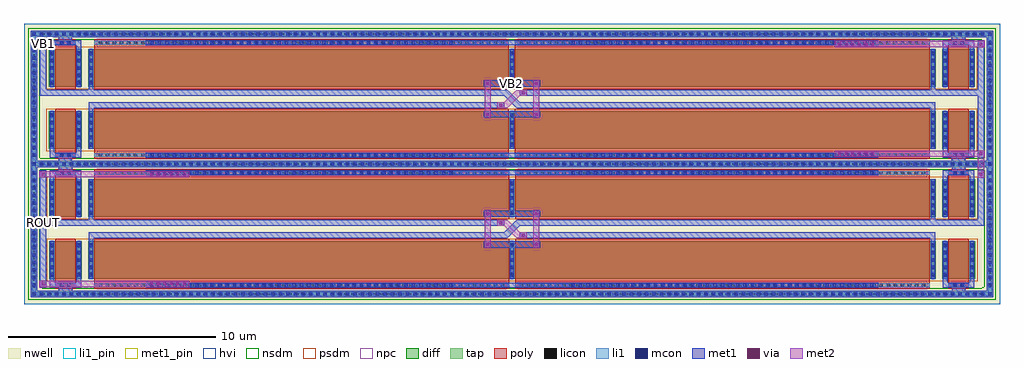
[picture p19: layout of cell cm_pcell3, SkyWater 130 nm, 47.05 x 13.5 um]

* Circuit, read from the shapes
.subckt cm_pcell3 ROUT VB1 VB2 VDDA
XM1 VDDA VDDA VDDA VDDA sky130_fd_pr__pfet_g5v0d10v5 w=1.8 l=1 m=8
XM2 VB2 n1 n1 VDDA sky130_fd_pr__pfet_g5v0d10v5 w=1.8 l=20 m=2
XM3 VB2 n1 VB1 VDDA sky130_fd_pr__pfet_g5v0d10v5 w=1.8 l=20 m=2
XM4 n2 ROUT n1 VDDA sky130_fd_pr__pfet_g5v0d10v5 w=1.8 l=20 m=2
XM5 n2 ROUT ROUT VDDA sky130_fd_pr__pfet_g5v0d10v5 w=1.8 l=20 m=2
.ends

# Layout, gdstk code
from math import pi, radians
import gdstk
lib = gdstk.Library(unit=1e-6, precision=1e-09)
def R(c, l, rs):  # rectangles x0, y0, x1, y1
    for r in rs: c.add(gdstk.rectangle(r[:2], r[2:], *l))
def A(c, l, x, y, w, h, nx, ny, dx, dy):  # array of equal rectangles
    R(c, l, [(x+i*dx, y+j*dy, x+i*dx+w, y+j*dy+h) for i in range(nx) for j in range(ny)])
def P(c, l, *ps):  # polygons
    for p in ps: c.add(gdstk.Polygon(p, *l))
nwell = (64, 20)
diff = (65, 20)
tap = (65, 44)
poly = (66, 20)
licon = (66, 44)
li1_pin = (67, 16)
li1 = (67, 20)
mcon = (67, 44)
met1_pin = (68, 16)
met1 = (68, 20)
via = (68, 44)
met2 = (69, 20)
hvi = (75, 20)
nsdm = (93, 44)
psdm = (94, 20)
npc = (95, 20)

cross_pair = lib.new_cell('cross_pair')
R(cross_pair, met1, [(180.57,9.275,180.93,9.575), (181.53,9.275,182.015,9.45), (181.355,9.45,182.015,9.575), (181.23,9.575,181.355,9.875), (180.57,9.875,181.055,10.175), (181.655,9.875,182.015,10.175)])
P(cross_pair, met1, [(181.055,10.175),(181.055,9.875),(181.355,9.875)],
  [(180.93,9.875),(181.23,9.875),(181.23,9.575)],
  [(181.355,9.875),(181.355,9.575),(181.655,9.575)],
  [(181.23,9.575),(181.355,9.575),(181.355,9.45)],
  [(181.355,9.45),(181.53,9.45),(181.53,9.275)])
R(cross_pair, via, [(180.675,9.35,180.825,9.5), (181.76,9.95,181.91,10.1)])
R(cross_pair, met2, [(180.57,9.275,181.055,9.575), (181.23,9.575,181.355,9.875), (181.355,9.875,182.015,10), (181.53,10,182.015,10.175)])
P(cross_pair, met2, [(181.355,10),(181.53,10),(181.53,10.175)],
  [(181.23,9.875),(181.355,9.875),(181.355,10)],
  [(180.93,9.575),(181.23,9.575),(181.23,9.875)],
  [(181.355,9.575),(181.355,9.875),(181.655,9.875)],
  [(181.055,9.275),(181.055,9.575),(181.355,9.575)])

sky130_fd_pr__pfet_g5v0d = lib.new_cell('sky130_fd_pr__pfet_g5v0d10v5_Y56K3G')
R(sky130_fd_pr__pfet_g5v0d, nwell, [(-0.97,-1.39,0.97,1.22)])
R(sky130_fd_pr__pfet_g5v0d, diff, [(-0.79,-1.08,0.79,0.72)])
R(sky130_fd_pr__pfet_g5v0d, poly, [(-0.5,-1.21,0.5,1.205)])
A(sky130_fd_pr__pfet_g5v0d, licon, -0.73, -0.945, 0.17, 0.17, 1, 5, 0, 0.34)
A(sky130_fd_pr__pfet_g5v0d, licon, 0.56, -0.945, 0.17, 0.17, 1, 5, 0, 0.34)
R(sky130_fd_pr__pfet_g5v0d, licon, [(-0.255,0.955,-0.085,1.125), (0.085,0.955,0.255,1.125)])
R(sky130_fd_pr__pfet_g5v0d, li1, [(-0.73,-1.1,-0.56,0.74), (0.56,-1.1,0.73,0.74), (-0.5,0.955,0.5,1.125)])
A(sky130_fd_pr__pfet_g5v0d, mcon, -0.73, -0.985, 0.17, 0.17, 1, 5, 0, 0.36)
A(sky130_fd_pr__pfet_g5v0d, mcon, 0.56, -0.985, 0.17, 0.17, 1, 5, 0, 0.36)
R(sky130_fd_pr__pfet_g5v0d, mcon, [(-0.265,0.955,-0.095,1.125), (0.095,0.955,0.265,1.125)])
R(sky130_fd_pr__pfet_g5v0d, met1, [(-0.76,-1.08,-0.53,0.72), (0.53,-1.08,0.76,0.72), (-0.375,0.925,0.375,1.155)])
R(sky130_fd_pr__pfet_g5v0d, hvi, [(-0.97,-1.39,0.97,-1.265), (-0.975,-1.265,0.975,0.905), (-0.97,0.905,0.97,1.22)])
R(sky130_fd_pr__pfet_g5v0d, psdm, [(-0.915,-1.205,0.915,0.845)])
R(sky130_fd_pr__pfet_g5v0d, npc, [(-0.355,0.855,0.355,1.225)])

c_sky130_fd_pr__pfet_g5v0d = lib.new_cell('sky130_fd_pr__pfet_g5v0d10v5_RPZ9PD')
R(c_sky130_fd_pr__pfet_g5v0d, nwell, [(-10.47,-1.39,10.47,1.22)])
R(c_sky130_fd_pr__pfet_g5v0d, diff, [(-10.29,-1.08,10.29,0.72)])
R(c_sky130_fd_pr__pfet_g5v0d, poly, [(-10,-1.21,10,1.205)])
A(c_sky130_fd_pr__pfet_g5v0d, licon, -10.23, -0.945, 0.17, 0.17, 1, 5, 0, 0.34)
A(c_sky130_fd_pr__pfet_g5v0d, licon, 10.06, -0.945, 0.17, 0.17, 1, 5, 0, 0.34)
A(c_sky130_fd_pr__pfet_g5v0d, licon, -9.775, 0.955, 0.17, 0.17, 58, 1, 0.34, 0)
R(c_sky130_fd_pr__pfet_g5v0d, li1, [(-10.23,-1.1,-10.06,0.74), (10.06,-1.1,10.23,0.74), (-10,0.955,10,1.125)])
A(c_sky130_fd_pr__pfet_g5v0d, mcon, -10.23, -0.985, 0.17, 0.17, 1, 5, 0, 0.36)
A(c_sky130_fd_pr__pfet_g5v0d, mcon, 10.06, -0.985, 0.17, 0.17, 1, 5, 0, 0.36)
A(c_sky130_fd_pr__pfet_g5v0d, mcon, -7.285, 0.955, 0.17, 0.17, 41, 1, 0.36, 0)
R(c_sky130_fd_pr__pfet_g5v0d, met1, [(-10.26,-1.08,-10.03,0.72), (10.03,-1.08,10.26,0.72), (-7.5,0.925,7.5,1.155)])
R(c_sky130_fd_pr__pfet_g5v0d, hvi, [(-10.47,-1.39,10.47,-1.265), (-10.475,-1.265,10.475,0.905), (-10.47,0.905,10.47,1.22)])
R(c_sky130_fd_pr__pfet_g5v0d, psdm, [(-10.415,-1.205,10.415,0.845)])
R(c_sky130_fd_pr__pfet_g5v0d, npc, [(-9.875,0.855,9.875,1.225)])

c_sky130_fd_pr__pfet_g5v0d_ = lib.new_cell('sky130_fd_pr__pfet_g5v0d10v5_NWEK38')
R(c_sky130_fd_pr__pfet_g5v0d_, nwell, [(-0.97,-1.39,0.97,1.22)])
R(c_sky130_fd_pr__pfet_g5v0d_, diff, [(-0.79,-1.08,0.79,0.72)])
R(c_sky130_fd_pr__pfet_g5v0d_, poly, [(-0.5,-1.21,0.5,1.205)])
A(c_sky130_fd_pr__pfet_g5v0d_, licon, -0.73, -0.945, 0.17, 0.17, 1, 5, 0, 0.34)
A(c_sky130_fd_pr__pfet_g5v0d_, licon, 0.56, -0.945, 0.17, 0.17, 1, 5, 0, 0.34)
R(c_sky130_fd_pr__pfet_g5v0d_, licon, [(-0.255,0.955,-0.085,1.125), (0.085,0.955,0.255,1.125)])
R(c_sky130_fd_pr__pfet_g5v0d_, li1, [(-0.73,-1.1,-0.56,0.74), (0.56,-1.1,0.73,0.74), (-0.5,0.955,0.5,1.125)])
A(c_sky130_fd_pr__pfet_g5v0d_, mcon, -0.73, -0.985, 0.17, 0.17, 1, 5, 0, 0.36)
A(c_sky130_fd_pr__pfet_g5v0d_, mcon, 0.56, -0.985, 0.17, 0.17, 1, 5, 0, 0.36)
R(c_sky130_fd_pr__pfet_g5v0d_, mcon, [(-0.265,0.955,-0.095,1.125), (0.095,0.955,0.265,1.125)])
R(c_sky130_fd_pr__pfet_g5v0d_, met1, [(-0.76,-1.08,-0.53,0.72), (0.53,-1.08,0.76,0.72), (-0.375,0.925,0.375,1.155)])
R(c_sky130_fd_pr__pfet_g5v0d_, hvi, [(-0.97,-1.39,0.97,-1.265), (-0.975,-1.265,0.975,0.905), (-0.97,0.905,0.97,1.22)])
R(c_sky130_fd_pr__pfet_g5v0d_, psdm, [(-0.915,-1.205,0.915,0.845)])
R(c_sky130_fd_pr__pfet_g5v0d_, npc, [(-0.355,0.855,0.355,1.225)])

cm_pcell3_2 = lib.new_cell('cm_pcell3_2')
R(cm_pcell3_2, tap, [(-2.51,-0.3,-2.21,2.685), (43.575,-0.3,43.875,2.685), (-2.51,2.685,43.875,2.985)])
R(cm_pcell3_2, li1, [(-2.445,-0.3,-2.275,2.75), (43.64,-0.3,43.81,2.75), (-2.445,2.75,43.81,2.92)])
R(cm_pcell3_2, met1, [(-2.51,-0.3,-2.21,2.685), (43.575,-0.3,43.875,2.685), (20.39,0.29,20.97,0.59), (-1.605,2.09,-1.375,2.295), (-0.315,2.09,-0.085,2.295), (41.445,2.09,41.675,2.295), (42.735,2.09,42.965,2.295), (36.235,2.195,38.295,2.495), (-1.605,2.295,-1.22,2.525), (-0.47,2.295,-0.085,2.525), (18.035,2.295,23.325,2.525), (41.445,2.295,41.845,2.525), (42.58,2.295,42.965,2.525), (-1.16,2.525,-0.53,2.685), (41.89,2.525,42.52,2.685), (-2.51,2.685,43.875,2.985)])
A(cm_pcell3_2, via, 36.39, 2.27, 0.15, 0.15, 6, 1, 0.32, 0)
R(cm_pcell3_2, met2, [(36.235,2.195,43.42,2.495)])
R(cm_pcell3_2, hvi, [(-2.78,-0.675,-1.94,-0.02), (43.305,-0.675,44.145,-0.02), (-2.78,-0.02,-1.815,0.105), (43.175,-0.02,44.145,0.105), (-2.78,0.105,-1.82,2.275), (43.18,0.105,44.145,2.275), (-2.78,2.275,-1.815,2.5), (43.175,2.275,44.145,2.5), (-2.695,2.5,44.06,3.17)])
R(cm_pcell3_2, nsdm, [(-2.635,-0.425,-2.085,2.56), (43.45,-0.425,44,2.56), (-2.635,2.56,44,3.11)])
R(cm_pcell3_2, psdm, [(0.07,0.165,0.12,2.215), (41.24,0.165,41.29,2.215)])
cm_pcell3_2.add(gdstk.Reference(sky130_fd_pr__pfet_g5v0d, (42.205,1.37)))
cm_pcell3_2.add(gdstk.Reference(c_sky130_fd_pr__pfet_g5v0d, (10.535,1.37)))
cm_pcell3_2.add(gdstk.Reference(c_sky130_fd_pr__pfet_g5v0d, (30.825,1.37)))
cm_pcell3_2.add(gdstk.Reference(c_sky130_fd_pr__pfet_g5v0d_, (-0.845,1.37)))

cm_pcell3_cell = lib.new_cell('cm_pcell3_cell')
R(cm_pcell3_cell, met1, [(22.72,18.71,23.02,21.685), (-1.085,20.645,1.62,20.945), (-20.14,20.945,-19.91,21.085), (20.44,20.945,20.67,21.085), (-20.14,21.085,-0.455,21.385), (0.99,21.085,20.67,21.385), (-22.485,21.685,-0.455,21.985), (0.99,21.685,23.02,21.985), (-22.485,21.985,-22.185,24.36), (-20.14,21.985,-19.91,22.125), (20.44,21.985,20.67,22.125), (22.72,21.985,23.02,24.36), (-1.085,22.125,-0.02,22.425), (0.555,22.125,1.62,22.425)])
R(cm_pcell3_cell, via, [(22.795,18.815,22.945,18.965), (-0.98,20.72,-0.83,20.87), (1.365,20.72,1.515,20.87), (-0.98,22.2,-0.83,22.35), (1.365,22.2,1.515,22.35), (22.795,24.105,22.945,24.255)])
R(cm_pcell3_cell, met2, [(22.72,18.74,23.05,19.04), (-1.055,20.615,-0.755,22.455), (1.29,20.615,1.59,22.455), (22.72,24.03,23.05,24.33)])
R(cm_pcell3_cell, hvi, [(-22.355,21.255,22.89,21.815)])
cm_pcell3_cell.add(gdstk.Reference(cross_pair, (-181.025,11.81)))
cm_pcell3_cell.add(gdstk.Reference(cm_pcell3_2, (-20.415,21.235), x_reflection=True))
cm_pcell3_cell.add(gdstk.Reference(cm_pcell3_2, (-20.415,21.835)))

cm_pcell3 = lib.new_cell('cm_pcell3')
R(cm_pcell3, nwell, [(-23.325,57.54,23.72,71.04)])
R(cm_pcell3, tap, [(-22.63,57.935,23.025,58.105), (-22.93,58.235,-22.76,64.205), (23.155,58.235,23.325,64.205), (-22.93,64.205,23.325,64.375), (-22.93,64.375,-22.76,70.345), (23.155,64.375,23.325,70.345), (-22.63,70.475,23.025,70.645)])
A(cm_pcell3, licon, -22.5, 57.935, 0.17, 0.17, 134, 3, 0.34, 6.27)
A(cm_pcell3, licon, -22.93, 58.33, 0.17, 0.17, 1, 17, 0, 0.34)
A(cm_pcell3, licon, 23.155, 58.33, 0.17, 0.17, 1, 17, 0, 0.34)
A(cm_pcell3, licon, -22.93, 64.64, 0.17, 0.17, 1, 17, 0, 0.34)
A(cm_pcell3, licon, 23.155, 64.64, 0.17, 0.17, 1, 17, 0, 0.34)
R(cm_pcell3, licon, [(-22.93,64.205,-22.76,64.375), (23.155,64.205,23.325,64.375)])
R(cm_pcell3, li1_pin, [(-22.93,70.475,-22.76,70.645)])
A(cm_pcell3, li1, -22.93, 57.935, 46.255, 0.17, 1, 3, 0, 6.27)
R(cm_pcell3, li1, [(-22.93,58.105,-22.76,64.205), (23.155,58.105,23.325,64.205), (-22.93,64.375,-22.76,70.475), (23.155,64.375,23.325,70.475)])
A(cm_pcell3, mcon, -22.93, 57.935, 0.17, 0.17, 128, 3, 0.36, 6.27)
A(cm_pcell3, mcon, -22.93, 58.37, 0.17, 0.17, 1, 16, 0, 0.36)
A(cm_pcell3, mcon, 23.155, 58.37, 0.17, 0.17, 1, 16, 0, 0.36)
A(cm_pcell3, mcon, -22.93, 64.64, 0.17, 0.17, 1, 16, 0, 0.36)
A(cm_pcell3, mcon, 23.155, 64.64, 0.17, 0.17, 1, 16, 0, 0.36)
R(cm_pcell3, mcon, [(23.155,57.935,23.325,58.105), (23.155,64.205,23.325,64.375), (23.155,70.475,23.325,70.645)])
R(cm_pcell3, met1_pin, [(-22.555,61.305,-22.255,61.605), (0.045,68.015,0.345,68.315), (-22.555,69.95,-22.255,70.25)])
A(cm_pcell3, met1, -22.93, 57.935, 46.255, 0.17, 1, 3, 0, 6.27)
R(cm_pcell3, met1, [(-22.93,58.105,-22.76,64.205), (23.155,58.105,23.325,64.205), (22.65,63.65,22.95,63.95), (-22.93,64.375,-22.76,70.475), (23.155,64.375,23.325,70.475)])
R(cm_pcell3, via, [(22.725,63.725,22.875,63.875)])
R(cm_pcell3, met2, [(22.65,63.62,22.95,64.645)])
R(cm_pcell3, hvi, [(-23.325,57.54,23.72,71.04)])
R(cm_pcell3, nsdm, [(-22.755,57.81,23.15,57.98), (-22.925,57.98,23.32,58.11), (-23.055,58.11,23.45,58.23), (-23.055,58.23,-22.465,58.36), (22.86,58.23,23.45,58.36), (-23.055,58.36,-22.635,64.08), (23.03,58.36,23.45,64.08), (-23.055,64.08,23.45,64.5), (-23.055,64.5,-22.635,70.22), (23.03,64.5,23.45,70.22), (-23.055,70.22,-22.465,70.35), (22.86,70.22,23.45,70.35), (-23.055,70.35,23.45,70.47), (-22.925,70.47,23.32,70.6), (-22.755,70.6,23.15,70.77)])
cm_pcell3.add(gdstk.Reference(cm_pcell3_cell, (0.465,39.62), rotation=pi, x_reflection=True))
cm_pcell3.add(gdstk.Reference(cm_pcell3_cell, (-0.07,45.89)))
cm_pcell3.add(gdstk.Label('VB1', (-22.405,70.1), layer=68, texttype=5))
cm_pcell3.add(gdstk.Label('VB2', (0.195,68.165), layer=68, texttype=5))
cm_pcell3.add(gdstk.Label('ROUT', (-22.405,61.455), layer=68, texttype=5))
cm_pcell3.add(gdstk.Label('VDDA', (-22.845,70.56), layer=67, texttype=5))

lib.write_gds('cm_pcell3.gds')
